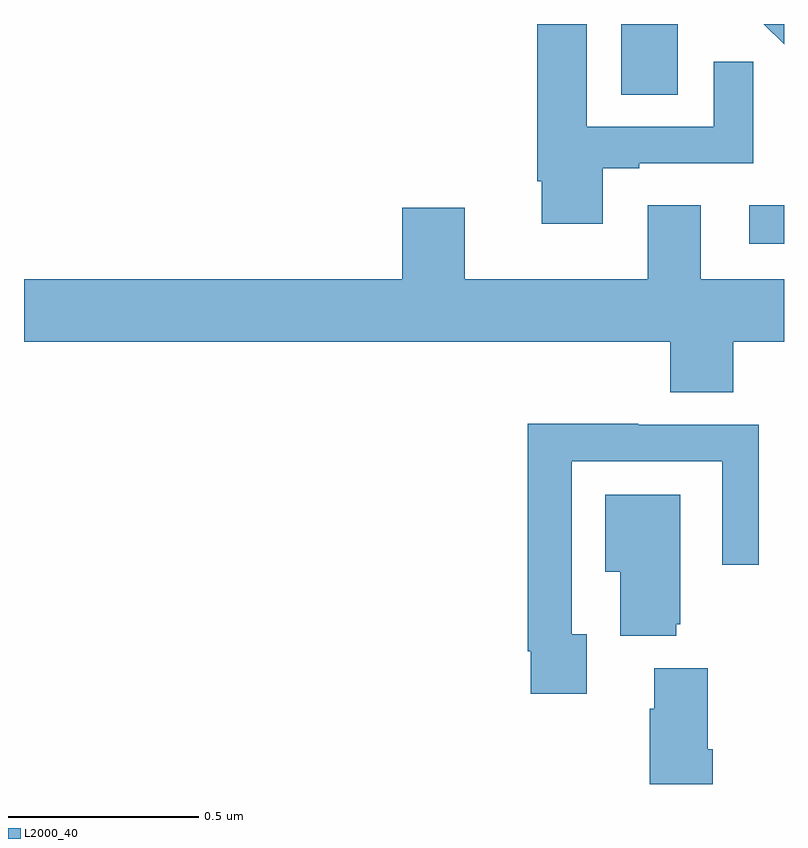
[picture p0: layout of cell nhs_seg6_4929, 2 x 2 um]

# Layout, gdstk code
import gdstk
lib = gdstk.Library(unit=1e-6, precision=1e-09)
def R(c, l, rs):  # rectangles x0, y0, x1, y1
    for r in rs: c.add(gdstk.rectangle(r[:2], r[2:], *l))
def P(c, l, *ps):  # polygons
    for p in ps: c.add(gdstk.Polygon(p, *l))
L2000_40 = (2000, 40)

nhs_seg6_4929 = lib.new_cell('nhs_seg6_4929')
R(nhs_seg6_4929, L2000_40, [(177.909,952.922,178,953.023), (177.572,953.314,177.721,953.5)])
P(nhs_seg6_4929, L2000_40, [(178,953.5),(177.947,953.5),(178,953.447)],
  [(177.523,953.121),(177.619,953.121),(177.619,953.133),(177.919,953.133),(177.919,953.401),(177.815,953.401),(177.815,953.229),(177.481,953.229),(177.481,953.5),(177.35,953.5),(177.35,953.086),(177.362,953.086),(177.362,952.974),(177.523,952.974)],
  [(177.866,952.664),(178,952.664),(178,952.828),(177.781,952.828),(177.781,953.023),(177.641,953.023),(177.641,952.828),(177.16,952.828),(177.16,953.017),(176.996,953.017),(176.996,952.828),(176,952.828),(176,952.664),(177.701,952.664),(177.701,952.531),(177.866,952.531)],
  [(177.481,951.894),(177.441,951.894),(177.441,952.35),(177.837,952.35),(177.837,952.077),(177.933,952.077),(177.933,952.446),(177.617,952.446),(177.617,952.448),(177.325,952.448),(177.325,951.85),(177.333,951.85),(177.333,951.738),(177.481,951.738)],
  [(177.716,951.921),(177.727,951.921),(177.727,952.261),(177.53,952.261),(177.53,952.058),(177.569,952.058),(177.569,951.89),(177.716,951.89)],
  [(177.812,951.592),(177.799,951.592),(177.799,951.805),(177.659,951.805),(177.659,951.698),(177.647,951.698),(177.647,951.5),(177.812,951.5)])

lib.write_gds('nhs_seg6_4929.gds')
